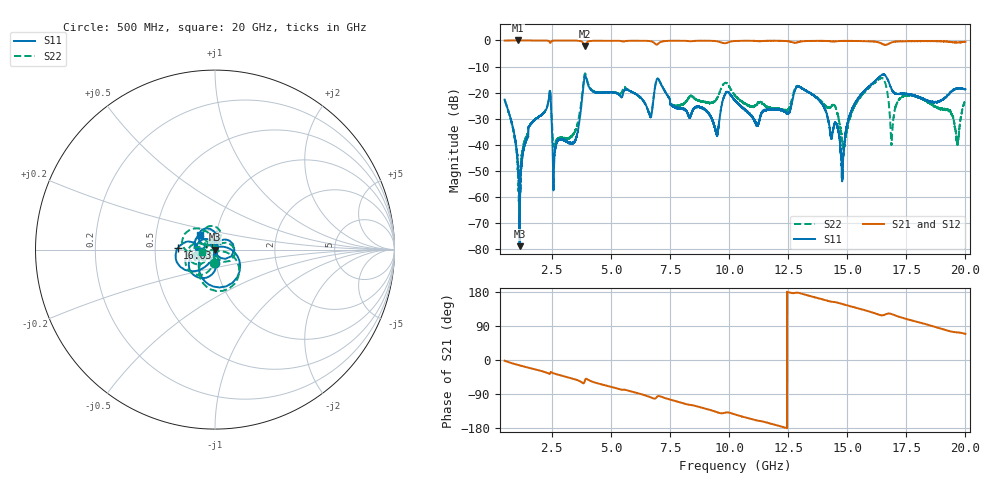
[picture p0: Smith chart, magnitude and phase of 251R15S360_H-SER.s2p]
!{251R15S360}
!Johanson Technology Inc.
!www.johansontechnology.com
!Test Board Conditions:
!Substrate Type  RO4350B
!Substrate Thickness  20 mil
!Substrate Dk  3.66
!TL Type: GCPW
!TL Trace Width  34 mil
!TL Gap  10 mil
!Electrode orientation  Horizontal
!DUT TOPOLOGY	SERIES
!Mounting Pad LxW  26x52 mil
! Created Thu Mar 12 17:13:19 2020
# mhz S ma R 50
! 2 Port Network Data from SP1.SP block
! freq  magS11  angS11  magS21  angS21  magS12  angS12  magS22  angS22
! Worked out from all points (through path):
!   19501 points, 500 MHz to 20 GHz, reference 50 ohm
!   highest |S21| = 0.00 dB at 1.055 GHz (marker M1); lowest = -2.1 dB at 3.893 GHz (marker M2)
!   group delay of S21, straight-line fit = 40.5 ps
!   lowest |S11| = -78.8 dB at 1.134 GHz (marker M3), VSWR 1.00, Z = 50 + j0.0112 ohm
!   |S11| at or under -10 dB: start of sweep to end of sweep
!   |S22| runs from -70.0 to -12.6 dB; largest |S21 - S12| = 0.015
!   S11 on the Smith chart (normalised r, x): 500 MHz: 0.98, -0.15; 16.63 GHz: 0.66, +0.01; 20 GHz: 0.83, +0.14
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500  0.07363 -91.9  0.9959 -1.9  0.997 -1.9  0.0731 -92.8
1055  0.004954 -104.0  0.9998 -12.9  0.998 -12.9  0.003625 -106.8
1134  0.0001144 101.4  0.9993 -14.2  0.9996 -14.2  0.001167 97.0
1598  0.02469 75.8  0.9986 -21.8  0.9986 -21.7  0.02519 63.2
2362  0.07094 50.6  0.9792 -35.6  0.9786 -35.6  0.07215 31.2
2619  0.006695 71.4  0.9941 -36.1  0.9951 -36.1  0.009905 -3.5
3468  0.01156 78.8  0.9938 -50.8  0.9939 -50.8  0.01776 -26.4
3750  0.05733 14.3  0.9634 -58.3  0.9639 -58.3  0.06986 -14.2
3893  0.2089 -62.0  0.7811 -55.6  0.7813 -55.5  0.23 -69.4
6652  0.0349 -139.5  0.97 -97.7  0.9707 -97.7  0.03726 -147.4
7000  0.1825 -137.9  0.868 -95.2  0.8683 -95.1  0.1835 -151.9
9458  0.01711 11.5  0.9692 -137.0  0.97 -137.1  0.07276 -134.5
10250  0.0716 125.2  0.9755 -143.8  0.9734 -143.7  0.08889 157.5
11180  0.02361 115.4  0.9733 -159.7  0.9735 -159.8  0.06027 152.3
13500  0.09333 90.0  0.9793 167.5  0.9779 167.6  0.09426 70.3
14789  0.002385 -176.0  0.9787 147.8  0.9759 147.9  0.01138 91.5
15297  0.05941 -109.3  0.9783 139.0  0.9784 139.0  0.05404 -161.2
16632  0.2078 178.0  0.824 120.9  0.8221 120.8  0.1409 125.1
16750  0.1632 164.4  0.8633 122.9  0.8598 122.8  0.0696 104.7
19284  0.09123 -174.3  0.9463 76.9  0.9435 77.2  0.0457 133.3
19653  0.1199 157.7  0.9118 72.7  0.9108 73.1  0.01065 145.8
20000  0.1167 136.8  0.9463 68.8  0.9433 68.8  0.07158 -169.8
